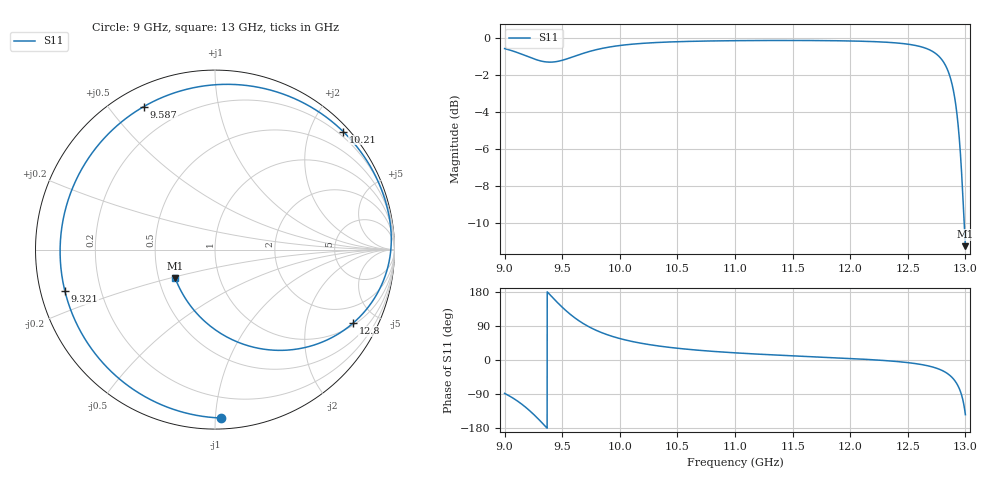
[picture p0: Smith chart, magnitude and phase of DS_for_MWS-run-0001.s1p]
! TOUCHSTONE file generated by CST DESIGN STUDIO
! Date and time: Tue Feb  4 18:40:36 2025
! Project name: C:\Work\MatlabApps\UnitCellOptimizationMatlab\CST\unitcell.cst
! Tree item: Tasks\Sweep1\SPara1\S-Parameters
! Header version: 2024
! Port assignment regex: !\s*Touchstone port\s*([0-9]+)\s*=\s*(CST MWS port|CST DES external port|CST DES block port)\s*(.+)\s* \(\"(.*)\"\)(\s*mode\s*([0-9]+))?.*
! Touchstone port assignment:
! Touchstone port 1 = CST DES external port 1 ("")
# GHz S MA R 50
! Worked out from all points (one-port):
!   4001 points, 9 GHz to 13 GHz, reference 50 ohm
!   lowest |S11| = -11.3 dB at 13 GHz (marker M1), VSWR 1.75, Z = 30.5 - j10.5 ohm
!   |S11| at or under -10 dB: 12.98894 GHz to end of sweep
!   S11 on the Smith chart (normalised r, x): 9 GHz: 0.07, -1.03; 9.321 GHz: 0.07, -0.14; 9.587 GHz: 0.08, +0.62; 10.21 GHz: 0.11, +2.56; 12.8 GHz: 1.09, -3.72; 13 GHz: 0.61, -0.21
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9  0.9387 -88.0
9.09  0.9205 -103.9
9.168  0.9015 -121.1
9.242  0.883 -140.6
9.321  0.8677 -164.5
9.364  0.8634 -178.3
9.406  0.8626 168.2
9.45  0.8654 154.3
9.5  0.8724 139.4
9.587  0.8902 116.4
9.659  0.9062 100.8
9.743  0.9232 85.9
9.865  0.9424 69.6
10  0.9569 56.6
10.215  0.9708 42.6
10.5  0.98 31.0
11  0.9863 18.9
11.5  0.9876 11.0
12  0.9845 3.9
12.5  0.965 -6.9
12.686  0.9323 -16.2
12.8  0.8723 -27.9
12.869  0.7829 -41.6
12.898  0.7169 -50.7
12.927  0.6223 -63.3
12.959  0.4756 -84.8
12.983  0.3458 -112.3
13  0.273 -144.2
